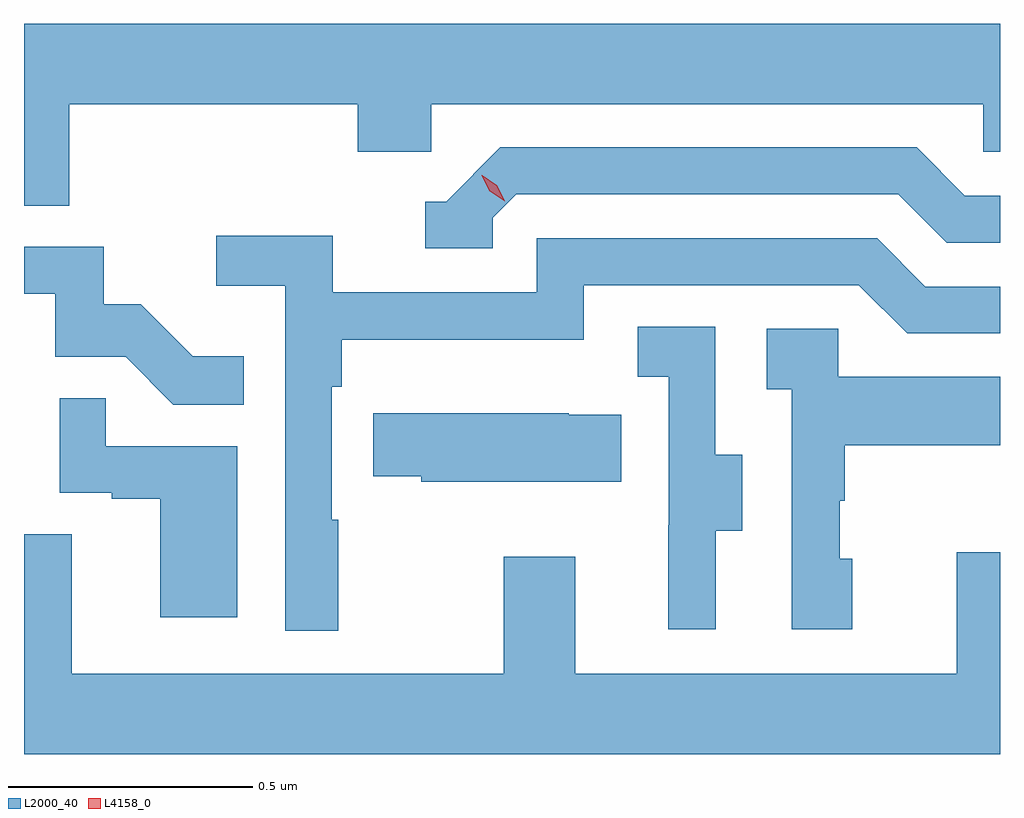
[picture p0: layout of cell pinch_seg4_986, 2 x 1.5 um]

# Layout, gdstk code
import gdstk
lib = gdstk.Library(unit=1e-6, precision=1e-09)
def P(c, l, *ps):  # polygons
    for p in ps: c.add(gdstk.Polygon(p, *l))
L2000_40 = (2000, 40)
L4158_0 = (4158, 0)

pinch_seg4_986 = lib.new_cell('pinch_seg4_986')
P(pinch_seg4_986, L2000_40, [(853.136,775.508),(853.727,775.508),(853.727,775.41),(853.878,775.41),(853.878,775.508),(855.009,775.508),(855.009,775.41),(855.043,775.41),(855.043,775.672),(853.043,775.672),(853.043,775.3),(853.136,775.3)],
  [(854.004,775.275),(854.052,775.323),(854.835,775.323),(854.934,775.224),(855.043,775.224),(855.043,775.32),(854.971,775.32),(854.872,775.419),(854.019,775.419),(853.908,775.308),(853.865,775.308),(853.865,775.212),(854.004,775.212)],
  [(853.687,774.656),(853.674,774.656),(853.674,774.929),(853.694,774.929),(853.694,775.025),(854.19,775.025),(854.19,775.137),(854.754,775.137),(854.853,775.038),(855.043,775.038),(855.043,775.134),(854.89,775.134),(854.791,775.233),(854.094,775.233),(854.094,775.122),(853.676,775.122),(853.676,775.238),(853.437,775.238),(853.437,775.136),(853.578,775.136),(853.578,774.429),(853.687,774.429)],
  [(853.493,774.991),(853.389,774.991),(853.282,775.098),(853.206,775.098),(853.206,775.215),(853.043,775.215),(853.043,775.119),(853.107,775.119),(853.107,774.99),(853.251,774.99),(853.349,774.892),(853.493,774.892)],
  [(854.461,774.634),(854.515,774.634),(854.515,774.789),(854.46,774.789),(854.46,775.052),(854.301,775.052),(854.301,774.949),(854.364,774.949),(854.364,774.645),(854.363,774.645),(854.363,774.432),(854.461,774.432)],
  [(854.74,774.576),(854.715,774.576),(854.715,774.695),(854.725,774.695),(854.725,774.809),(855.043,774.809),(855.043,774.949),(854.712,774.949),(854.712,775.047),(854.565,775.047),(854.565,774.923),(854.616,774.923),(854.616,774.432),(854.74,774.432)],
  [(853.48,774.807),(853.211,774.807),(853.211,774.905),(853.116,774.905),(853.116,774.711),(853.223,774.711),(853.223,774.699),(853.322,774.699),(853.322,774.456),(853.48,774.456)],
  [(854.267,774.871),(854.159,774.871),(854.159,774.874),(853.759,774.874),(853.759,774.745),(853.857,774.745),(853.857,774.734),(854.267,774.734)],
  [(855.043,774.589),(854.954,774.589),(854.954,774.34),(854.173,774.34),(854.173,774.58),(854.026,774.58),(854.026,774.34),(853.141,774.34),(853.141,774.626),(853.043,774.626),(853.043,774.176),(855.043,774.176)])
P(pinch_seg4_986, L4158_0, [(854.028,775.309),(853.997,775.329),(853.981,775.361),(853.981,775.362),(853.982,775.362),(854.012,775.342),(854.028,775.31),(854.028,775.309)])

lib.write_gds('pinch_seg4_986.gds')
